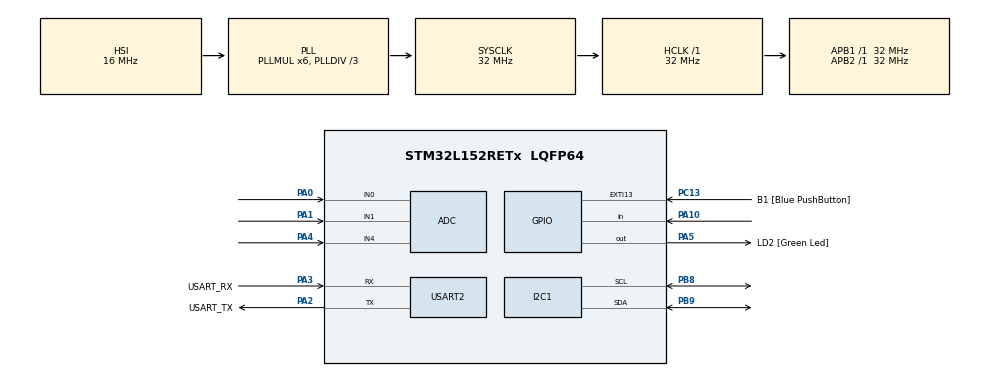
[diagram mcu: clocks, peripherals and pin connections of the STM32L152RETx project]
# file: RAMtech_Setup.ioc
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ADC.Channel-0\#ChannelRegularConversion=ADC_CHANNEL_0
ADC.NbrOfConversionFlag=1
ADC.Rank-0\#ChannelRegularConversion=1
ADC.SamplingTime-0\#ChannelRegularConversion=ADC_SAMPLETIME_4CYCLES
Mcu.Family=STM32L1
Mcu.Name=STM32L152RETx
Mcu.Package=LQFP64
NVIC.PriorityGroup=NVIC_PRIORITYGROUP_0
PA0-WKUP1.Mode=IN0
PA0-WKUP1.Signal=ADC_IN0
PA1.Mode=IN1
PA1.Signal=ADC_IN1
PA10.Signal=GPIO_Input
PA13.GPIO_Label=TMS
PA13.Mode=Serial_Wire
PA13.Signal=SYS_JTMS-SWDIO
PA14.GPIO_Label=TCK
PA14.Mode=Serial_Wire
PA14.Signal=SYS_JTCK-SWCLK
PA2.GPIO_Label=USART_TX
PA2.Mode=Asynchronous
PA2.Signal=USART2_TX
PA3.GPIO_Label=USART_RX
PA3.Mode=Asynchronous
PA3.Signal=USART2_RX
PA4.Mode=IN4
PA4.Signal=ADC_IN4
PA5.GPIO_Label=LD2 [Green Led]
PA5.Signal=GPIO_Output
PB3.GPIO_Label=SWO
PB3.Signal=SYS_JTDO-TRACESWO
PB8.Mode=I2C
PB8.Signal=I2C1_SCL
PB9.Mode=I2C
PB9.Signal=I2C1_SDA
PC13-WKUP2.GPIO_Label=B1 [Blue PushButton]
PC13-WKUP2.Signal=GPXTI13
PC14-OSC32_IN.Mode=LSE-External-Oscillator
PC14-OSC32_IN.Signal=RCC_OSC32_IN
PC15-OSC32_OUT.Mode=LSE-External-Oscillator
PC15-OSC32_OUT.Signal=RCC_OSC32_OUT
PH0-OSC_IN.Mode=HSE-External-Clock-Source
PH0-OSC_IN.Signal=RCC_OSC_IN
PH1-OSC_OUT.Signal=RCC_OSC_OUT
ProjectManager.HeapSize=0x200
ProjectManager.StackSize=0x400
ProjectManager.TargetToolchain=STM32CubeIDE
RCC.48MHZClocksFreq_Value=48000000
RCC.AHBFreq_Value=32000000
RCC.APB1Freq_Value=32000000
RCC.APB1TimFreq_Value=32000000
RCC.APB2Freq_Value=32000000
RCC.APB2TimFreq_Value=32000000
RCC.HCLKFreq_Value=32000000
RCC.HSE_VALUE=8000000
RCC.HSI_VALUE=16000000
RCC.MSI_VALUE=2097000
RCC.PLLDIV=RCC_PLL_DIV3
RCC.PLLMUL=RCC_PLL_MUL6
RCC.RTCClockSelectionVirtual=RCC_RTCCLKSOURCE_LSE
RCC.SYSCLKFreq_VALUE=32000000
RCC.SYSCLKSource=RCC_SYSCLKSOURCE_PLLCLK
RCC.USBOutput=48000000
RCC.VCOOutputFreq_Value=96000000
USART2.VirtualMode=VM_ASYNC
board=NUCLEO-L152RE

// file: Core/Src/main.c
/* USER CODE BEGIN Header */
/**
  ******************************************************************************
  * @file           : main.c
  * @brief          : Main program body
  ******************************************************************************
  * @attention
  *
  * Copyright (c) 2025 STMicroelectronics.
  * All rights reserved.
  *
  * This software is licensed under terms that can be found in the LICENSE file
  * in the root directory of this software component.
  * If no LICENSE file comes with this software, it is provided AS-IS.
  *
  ******************************************************************************
  */
/* USER CODE END Header */

/* USER CODE BEGIN Includes */
#include "main.h"
#include "button_input.h"
#include "temp_meas.h"
#include "freq_meas.h"
#include "lcd.h"
#include "custom_chars.h"
#include "tilt.h"

/* USER CODE END Includes */

/* USER CODE BEGIN PTD */
typedef enum {
    MENU_MAIN,
	MENU_TEMP,
	MENU_FREQ
} MenuState;
/* USER CODE END PTD */

/* USER CODE BEGIN PD */
#define REG_MODE1 0x00
#define REG_MODE2 0x01
#define REG_PWM0  0x02  // Red
#define REG_PWM1  0x03  // Green
#define REG_PWM2  0x04  // Blue
#define REG_GRPPWM 0x06
#define REG_LEDOUT 0x08
/* USER CODE END PD */

ADC_HandleTypeDef hadc;

I2C_HandleTypeDef hi2c1;

UART_HandleTypeDef huart2;

void SystemClock_Config(void);
static void MX_GPIO_Init(void);
static void MX_USART2_UART_Init(void);
static void MX_ADC_Init(void);
static void MX_I2C1_Init(void);

int main(void)
{

  /* MCU Configuration--------------------------------------------------------*/

  /* Reset of all peripherals, Initializes the Flash interface and the Systick. */
  HAL_Init();

  /* Configure the system clock */
  SystemClock_Config();

  /* Initialize all configured peripherals */
  MX_GPIO_Init();
  MX_USART2_UART_Init();
  MX_ADC_Init();
  MX_I2C1_Init();
  /* USER CODE BEGIN 2 */
   RGB_LCD_HandleTypeDef lcd;
   lcd.hi2c = &hi2c1;
   lcd.rgb_addr = 0x62 << 1; // RGB controller address (8-bit)
   lcd.cols = 16;
   lcd.rows = 2;

   // Initialize LCD
   RGB_LCD_Init(&lcd);
   ADC_ButtonInit();
   tilt_init();
   signal_input_init();

   // Set a color for the backlight
   RGB_LCD_SetRGB(&lcd, 0, 128, 255); // Light blue
   RGB_LCD_Clear(&lcd);

   // Initialize state and measurement variables
   MenuState currentMenu = MENU_MAIN;
   Button last_click = NONE;
   float t_temp;
   float freq;
   bool flip;
  /* USER CODE END 2 */

  /* Infinite loop */
  while (1)
  {

    /* USER CODE BEGIN 3 */
	  // read the latest button push
  	  last_click = GetButton();

  	  // check the orientation of the device
  	  //flip = detect_tilt();
  	  flip = false;

  	  // Based on the button push, display the correct screen on the LCD
  			switch (currentMenu) {
  				case MENU_MAIN:
  					// clear display
  					RGB_LCD_Clear(&lcd);

  					if (flip == false){
  						// print right side up text for the main menu
  						RGB_LCD_SetCursor(&lcd, 0, 0);
  						RGB_LCD_Print(&lcd, "MAIN MENU");
  					}
  					else if(flip == true){
  						// print upside down text for the main menu

  					}

  					// screen change options for main menu
  					if (last_click == BUTTON_UP) currentMenu = MENU_TEMP;
  					if (last_click == BUTTON_DOWN) currentMenu = MENU_FREQ;
  					break;

  				case MENU_TEMP: {
  					// clear display
  					RGB_LCD_Clear(&lcd);

  					// measure temperature
  					t_temp = rtd_read_temperature_f();

  					if (flip == false){
  						// print right side up text for the temperature screen
  						RGB_LCD_SetCursor(&lcd, 0, 0);
  						RGB_LCD_Printf(&lcd, "TEMP: %.0f F", t_temp);
  						RGB_LCD_SetCursor(&lcd, 0, 1);
  						RGB_LCD_Print(&lcd,"HIT LEFT TO EXIT");
  					}
  					else if(flip == true){
  						// print upside down text for the temperature screen

  					}

  					// screen change options for temperature screen
  					if (last_click == BUTTON_LEFT) currentMenu = MENU_MAIN;
  					break;
  				}

  				case MENU_FREQ: {
  					// clear display
  					RGB_LCD_Clear(&lcd);

  					// measure frequency
  					freq = measure_frequency();

  					if (flip == false){
  						// print right side up text for the frequency screen
  						RGB_LCD_SetCursor(&lcd, 0, 0);
  						RGB_LCD_Printf(&lcd, "FREQ: %.0f Hz", freq);
  						RGB_LCD_SetCursor(&lcd, 0, 1);
  						RGB_LCD_Print(&lcd,"HIT LEFT TO EXIT");
  					}
  					else if(flip == true){
  						// print upside down text for the frequency screen
  					}

  					// screen change options for frequency screen
  					if (last_click == BUTTON_LEFT) currentMenu = MENU_MAIN;
  					break;
  				}
  			}
  			HAL_Delay(100);
  }
  /* USER CODE END 3 */
}

void SystemClock_Config(void)
{
  RCC_OscInitTypeDef RCC_OscInitStruct = {0};
  RCC_ClkInitTypeDef RCC_ClkInitStruct = {0};

  /** Configure the main internal regulator output voltage
  */
  __HAL_PWR_VOLTAGESCALING_CONFIG(PWR_REGULATOR_VOLTAGE_SCALE1);

  /** Initializes the RCC Oscillators according to the specified parameters
  * in the RCC_OscInitTypeDef structure.
  */
  RCC_OscInitStruct.OscillatorType = RCC_OSCILLATORTYPE_HSI;
  RCC_OscInitStruct.HSIState = RCC_HSI_ON;
  RCC_OscInitStruct.HSICalibrationValue = RCC_HSICALIBRATION_DEFAULT;
  RCC_OscInitStruct.PLL.PLLState = RCC_PLL_ON;
  RCC_OscInitStruct.PLL.PLLSource = RCC_PLLSOURCE_HSI;
  RCC_OscInitStruct.PLL.PLLMUL = RCC_PLL_MUL6;
  RCC_OscInitStruct.PLL.PLLDIV = RCC_PLL_DIV3;
  if (HAL_RCC_OscConfig(&RCC_OscInitStruct) != HAL_OK)
  {
    Error_Handler();
  }

  /** Initializes the CPU, AHB and APB buses clocks
  */
  RCC_ClkInitStruct.ClockType = RCC_CLOCKTYPE_HCLK|RCC_CLOCKTYPE_SYSCLK
                              |RCC_CLOCKTYPE_PCLK1|RCC_CLOCKTYPE_PCLK2;
  RCC_ClkInitStruct.SYSCLKSource = RCC_SYSCLKSOURCE_PLLCLK;
  RCC_ClkInitStruct.AHBCLKDivider = RCC_SYSCLK_DIV1;
  RCC_ClkInitStruct.APB1CLKDivider = RCC_HCLK_DIV1;
  RCC_ClkInitStruct.APB2CLKDivider = RCC_HCLK_DIV1;

  if (HAL_RCC_ClockConfig(&RCC_ClkInitStruct, FLASH_LATENCY_1) != HAL_OK)
  {
    Error_Handler();
  }
}

static void MX_ADC_Init(void)
{

  ADC_ChannelConfTypeDef sConfig = {0};

  /** Configure the global features of the ADC (Clock, Resolution, Data Alignment and number of conversion)
  */
  hadc.Instance = ADC1;
  hadc.Init.ClockPrescaler = ADC_CLOCK_ASYNC_DIV1;
  hadc.Init.Resolution = ADC_RESOLUTION_12B;
  hadc.Init.DataAlign = ADC_DATAALIGN_RIGHT;
  hadc.Init.ScanConvMode = ADC_SCAN_DISABLE;
  hadc.Init.EOCSelection = ADC_EOC_SEQ_CONV;
  hadc.Init.LowPowerAutoWait = ADC_AUTOWAIT_DISABLE;
  hadc.Init.LowPowerAutoPowerOff = ADC_AUTOPOWEROFF_DISABLE;
  hadc.Init.ChannelsBank = ADC_CHANNELS_BANK_A;
  hadc.Init.ContinuousConvMode = DISABLE;
  hadc.Init.NbrOfConversion = 1;
  hadc.Init.DiscontinuousConvMode = DISABLE;
  hadc.Init.ExternalTrigConv = ADC_SOFTWARE_START;
  hadc.Init.ExternalTrigConvEdge = ADC_EXTERNALTRIGCONVEDGE_NONE;
  hadc.Init.DMAContinuousRequests = DISABLE;
  if (HAL_ADC_Init(&hadc) != HAL_OK)
  {
    Error_Handler();
  }

  /** Configure for the selected ADC regular channel its corresponding rank in the sequencer and its sample time.
  */
  sConfig.Channel = ADC_CHANNEL_0;
  sConfig.Rank = ADC_REGULAR_RANK_1;
  sConfig.SamplingTime = ADC_SAMPLETIME_4CYCLES;
  if (HAL_ADC_ConfigChannel(&hadc, &sConfig) != HAL_OK)
  {
    Error_Handler();
  }

}

static void MX_I2C1_Init(void)
{

  hi2c1.Instance = I2C1;
  hi2c1.Init.ClockSpeed = 100000;
  hi2c1.Init.DutyCycle = I2C_DUTYCYCLE_2;
  hi2c1.Init.OwnAddress1 = 0;
  hi2c1.Init.AddressingMode = I2C_ADDRESSINGMODE_7BIT;
  hi2c1.Init.DualAddressMode = I2C_DUALADDRESS_DISABLE;
  hi2c1.Init.OwnAddress2 = 0;
  hi2c1.Init.GeneralCallMode = I2C_GENERALCALL_DISABLE;
  hi2c1.Init.NoStretchMode = I2C_NOSTRETCH_DISABLE;
  if (HAL_I2C_Init(&hi2c1) != HAL_OK)
  {
    Error_Handler();
  }

}

static void MX_USART2_UART_Init(void)
{

  huart2.Instance = USART2;
  huart2.Init.BaudRate = 115200;
  huart2.Init.WordLength = UART_WORDLENGTH_8B;
  huart2.Init.StopBits = UART_STOPBITS_1;
  huart2.Init.Parity = UART_PARITY_NONE;
  huart2.Init.Mode = UART_MODE_TX_RX;
  huart2.Init.HwFlowCtl = UART_HWCONTROL_NONE;
  huart2.Init.OverSampling = UART_OVERSAMPLING_16;
  if (HAL_UART_Init(&huart2) != HAL_OK)
  {
    Error_Handler();
  }

}

static void MX_GPIO_Init(void)
{
  GPIO_InitTypeDef GPIO_InitStruct = {0};

  /* GPIO Ports Clock Enable */
  __HAL_RCC_GPIOC_CLK_ENABLE();
  __HAL_RCC_GPIOH_CLK_ENABLE();
  __HAL_RCC_GPIOA_CLK_ENABLE();
  __HAL_RCC_GPIOB_CLK_ENABLE();

  /*Configure GPIO pin Output Level */
  HAL_GPIO_WritePin(LD2_GPIO_Port, LD2_Pin, GPIO_PIN_RESET);

  /*Configure GPIO pin : B1_Pin */
  GPIO_InitStruct.Pin = B1_Pin;
  GPIO_InitStruct.Mode = GPIO_MODE_IT_RISING;
  GPIO_InitStruct.Pull = GPIO_NOPULL;
  HAL_GPIO_Init(B1_GPIO_Port, &GPIO_InitStruct);

  /*Configure GPIO pin : LD2_Pin */
  GPIO_InitStruct.Pin = LD2_Pin;
  GPIO_InitStruct.Mode = GPIO_MODE_OUTPUT_PP;
  GPIO_InitStruct.Pull = GPIO_NOPULL;
  GPIO_InitStruct.Speed = GPIO_SPEED_FREQ_LOW;
  HAL_GPIO_Init(LD2_GPIO_Port, &GPIO_InitStruct);

  /*Configure GPIO pin : PA10 */
  GPIO_InitStruct.Pin = GPIO_PIN_10;
  GPIO_InitStruct.Mode = GPIO_MODE_INPUT;
  GPIO_InitStruct.Pull = GPIO_NOPULL;
  HAL_GPIO_Init(GPIOA, &GPIO_InitStruct);

}

void Error_Handler(void)
{
  __disable_irq();
  while (1)
  {
  }
}
